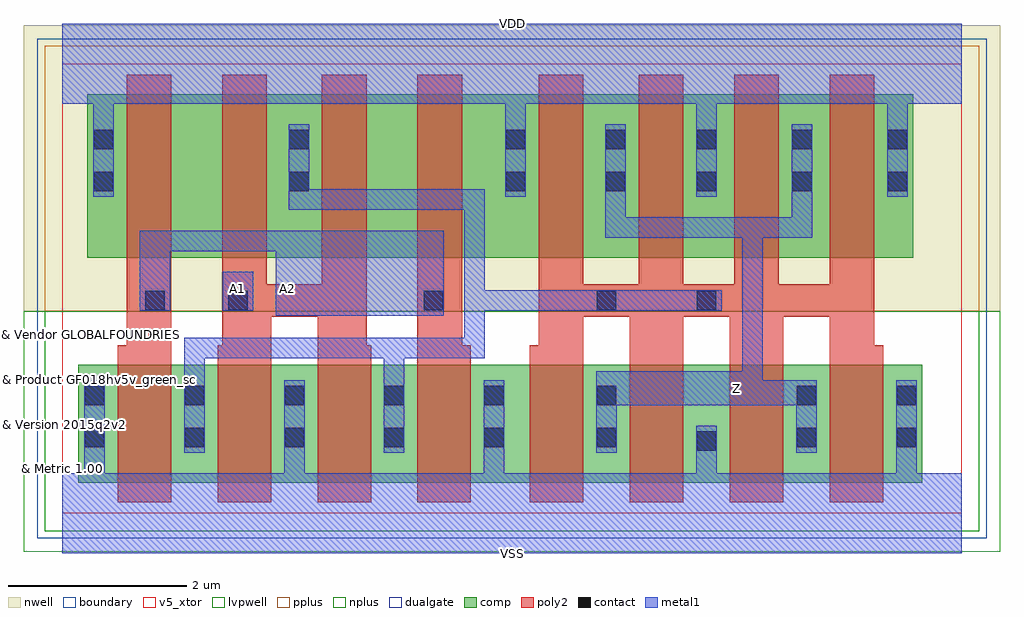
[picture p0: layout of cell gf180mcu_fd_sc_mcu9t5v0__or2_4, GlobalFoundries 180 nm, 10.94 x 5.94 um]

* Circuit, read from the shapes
.subckt gf180mcu_fd_sc_mcu9t5v0__or2_4 A1 A2 VDD VSS Z
XM1 n1 A2 VSS VSUBS nfet_05v0 w=1.32u l=0.6u m=2
XM2 VSS A1 n1 VSUBS nfet_05v0 w=1.32u l=0.6u m=2
XM3 Z n1 VSS VSUBS nfet_05v0 w=1.32u l=0.6u m=4
XM4 n2 A2 VDD n3 pfet_05v0 w=1.83u l=0.5u
XM5 n1 A1 n2 n3 pfet_05v0 w=1.83u l=0.5u
XM6 n4 A1 n1 n3 pfet_05v0 w=1.83u l=0.5u
XM7 VDD A2 n4 n3 pfet_05v0 w=1.83u l=0.5u
XM8 Z n1 VDD n3 pfet_05v0 w=1.83u l=0.5u m=4
.ends

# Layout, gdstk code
import gdstk
lib = gdstk.Library(unit=1e-6, precision=1e-09)
def R(c, l, rs):  # rectangles x0, y0, x1, y1
    for r in rs: c.add(gdstk.rectangle(r[:2], r[2:], *l))
def A(c, l, x, y, w, h, nx, ny, dx, dy):  # array of equal rectangles
    R(c, l, [(x+i*dx, y+j*dy, x+i*dx+w, y+j*dy+h) for i in range(nx) for j in range(ny)])
def P(c, l, *ps):  # polygons
    for p in ps: c.add(gdstk.Polygon(p, *l))
boundary = (0, 0)
nwell = (21, 0)
comp = (22, 0)
poly2 = (30, 0)
pplus = (31, 0)
nplus = (32, 0)
contact = (33, 0)
metal1 = (34, 0)
dualgate = (55, 0)
v5_xtor = (112, 1)
lvpwell = (204, 0)

gf180mcu_fd_sc_mcu9t5v0_ = lib.new_cell('gf180mcu_fd_sc_mcu9t5v0__or2_4')
R(gf180mcu_fd_sc_mcu9t5v0_, boundary, [(0,0,10.08,5.04)])
R(gf180mcu_fd_sc_mcu9t5v0_, nwell, [(-0.43,2.265,10.51,5.47)])
R(gf180mcu_fd_sc_mcu9t5v0_, comp, [(0.18,0.345,9.64,1.665), (0.28,2.865,9.54,4.695)])
P(gf180mcu_fd_sc_mcu9t5v0_, poly2, [(0.62,0.125),(0.62,1.885),(0.72,1.885),(0.72,4.915),(1.22,4.915),(1.22,0.125)],
  [(1.74,0.125),(1.74,1.885),(1.79,1.885),(1.79,4.915),(2.29,4.915),(2.29,2.565),(2.91,2.565),(2.91,4.915),(3.41,4.915),(3.41,1.885),(3.46,1.885),(3.46,0.125),(2.86,0.125),(2.86,2.205),(2.34,2.205),(2.34,0.125)],
  [(3.98,0.125),(3.98,4.915),(4.48,4.915),(4.48,1.885),(4.58,1.885),(4.58,0.125)],
  [(5.24,0.125),(5.24,1.885),(5.34,1.885),(5.34,4.915),(5.84,4.915),(5.84,2.565),(6.46,2.565),(6.46,4.915),(6.96,4.915),(6.96,2.565),(7.53,2.565),(7.53,4.915),(8.03,4.915),(8.03,2.565),(8.6,2.565),(8.6,4.915),(9.1,4.915),(9.1,1.885),(9.2,1.885),(9.2,0.125),(8.6,0.125),(8.6,2.205),(8.08,2.205),(8.08,0.125),(7.48,0.125),(7.48,2.205),(6.96,2.205),(6.96,0.125),(6.36,0.125),(6.36,2.205),(5.84,2.205),(5.84,0.125)])
R(gf180mcu_fd_sc_mcu9t5v0_, pplus, [(-0.2,2.265,10.28,5.24)])
R(gf180mcu_fd_sc_mcu9t5v0_, nplus, [(-0.2,-0.2,10.28,2.265)])
A(gf180mcu_fd_sc_mcu9t5v0_, contact, 0.25, 0.74, 0.22, 0.22, 5, 2, 1.12, 0.47)
A(gf180mcu_fd_sc_mcu9t5v0_, contact, 7.11, 3.61, 0.22, 0.22, 3, 2, 1.07, 0.47)
R(gf180mcu_fd_sc_mcu9t5v0_, contact, [(7.11,0.7,7.33,0.92), (5.99,0.74,6.21,0.96), (8.23,0.74,8.45,0.96), (9.35,0.74,9.57,0.96), (5.99,1.21,6.21,1.43), (8.23,1.21,8.45,1.43), (9.35,1.21,9.57,1.43), (0.93,2.275,1.15,2.495), (1.86,2.275,2.08,2.495), (4.05,2.275,4.27,2.495), (5.99,2.275,6.21,2.495), (7.11,2.275,7.33,2.495), (0.35,3.61,0.57,3.83), (2.54,3.61,2.76,3.83), (4.97,3.61,5.19,3.83), (6.09,3.61,6.31,3.83), (0.35,4.08,0.57,4.3), (2.54,4.08,2.76,4.3), (4.97,4.08,5.19,4.3), (6.09,4.08,6.31,4.3)])
R(gf180mcu_fd_sc_mcu9t5v0_, metal1, [(1.8,2.27,2.14,2.71)])
P(gf180mcu_fd_sc_mcu9t5v0_, metal1, [(2.39,2.215),(2.39,2.94),(1.21,2.94),(1.21,2.27),(0.87,2.27),(0.87,3.17),(4.275,3.17),(4.275,2.215)],
  [(1.365,0.68),(1.365,1.97),(4.505,1.97),(4.505,3.4),(2.535,3.4),(2.535,4.36),(2.765,4.36),(2.765,3.63),(4.735,3.63),(4.735,2.5),(7.39,2.5),(7.39,2.27),(4.735,2.27),(4.735,1.74),(3.835,1.74),(3.835,0.68),(3.605,0.68),(3.605,1.74),(1.595,1.74),(1.595,0.68)],
  [(5.985,0.68),(5.985,1.59),(7.62,1.59),(7.62,3.09),(6.085,3.09),(6.085,4.36),(6.315,4.36),(6.315,3.32),(8.175,3.32),(8.175,4.36),(8.405,4.36),(8.405,3.09),(7.85,3.09),(7.85,1.49),(8.455,1.49),(8.455,0.68),(8.225,0.68),(8.225,1.21),(6.215,1.21),(6.215,0.68)],
  [(0,-0.45),(0,0.45),(0.245,0.45),(0.245,1.49),(0.475,1.49),(0.475,0.45),(2.485,0.45),(2.485,1.49),(2.715,1.49),(2.715,0.45),(4.725,0.45),(4.725,1.49),(4.955,1.49),(4.955,0.45),(7.105,0.45),(7.105,0.98),(7.335,0.98),(7.335,0.45),(9.345,0.45),(9.345,1.49),(9.575,1.49),(9.575,0.45),(10.08,0.45),(10.08,-0.45)],
  [(0.345,3.55),(0.345,4.59),(0,4.59),(0,5.49),(10.08,5.49),(10.08,4.59),(9.475,4.59),(9.475,3.55),(9.245,3.55),(9.245,4.59),(7.335,4.59),(7.335,3.55),(7.105,3.55),(7.105,4.59),(5.195,4.59),(5.195,3.55),(4.965,3.55),(4.965,4.59),(0.575,4.59),(0.575,3.55)])
R(gf180mcu_fd_sc_mcu9t5v0_, dualgate, [(-0.28,-0.28,10.36,5.32)])
R(gf180mcu_fd_sc_mcu9t5v0_, v5_xtor, [(0,0,10.08,5.04)])
R(gf180mcu_fd_sc_mcu9t5v0_, lvpwell, [(-0.43,-0.43,10.51,2.265)])
gf180mcu_fd_sc_mcu9t5v0_.add(gdstk.Label('A1', (1.96,2.52), layer=34, texttype=10))
gf180mcu_fd_sc_mcu9t5v0_.add(gdstk.Label('A2', (2.52,2.52), layer=34, texttype=10))
gf180mcu_fd_sc_mcu9t5v0_.add(gdstk.Label('VDD', (5.04,5.49), layer=34, texttype=10))
gf180mcu_fd_sc_mcu9t5v0_.add(gdstk.Label('VSS', (5.04,-0.45), layer=34, texttype=10))
gf180mcu_fd_sc_mcu9t5v0_.add(gdstk.Label('Z', (7.56,1.4), layer=34, texttype=10))
gf180mcu_fd_sc_mcu9t5v0_.add(gdstk.Label('& Vendor GLOBALFOUNDRIES', (0,2), layer=63, texttype=63))
gf180mcu_fd_sc_mcu9t5v0_.add(gdstk.Label('& Product GF018hv5v_green_sc9', (0,1.5), layer=63, texttype=63))
gf180mcu_fd_sc_mcu9t5v0_.add(gdstk.Label('& Version 2015q2v2', (0,1), layer=63, texttype=63))
gf180mcu_fd_sc_mcu9t5v0_.add(gdstk.Label('& Metric 1.00', (0,0.5), layer=63, texttype=63))

lib.write_gds('gf180mcu_fd_sc_mcu9t5v0__or2_4.gds')
